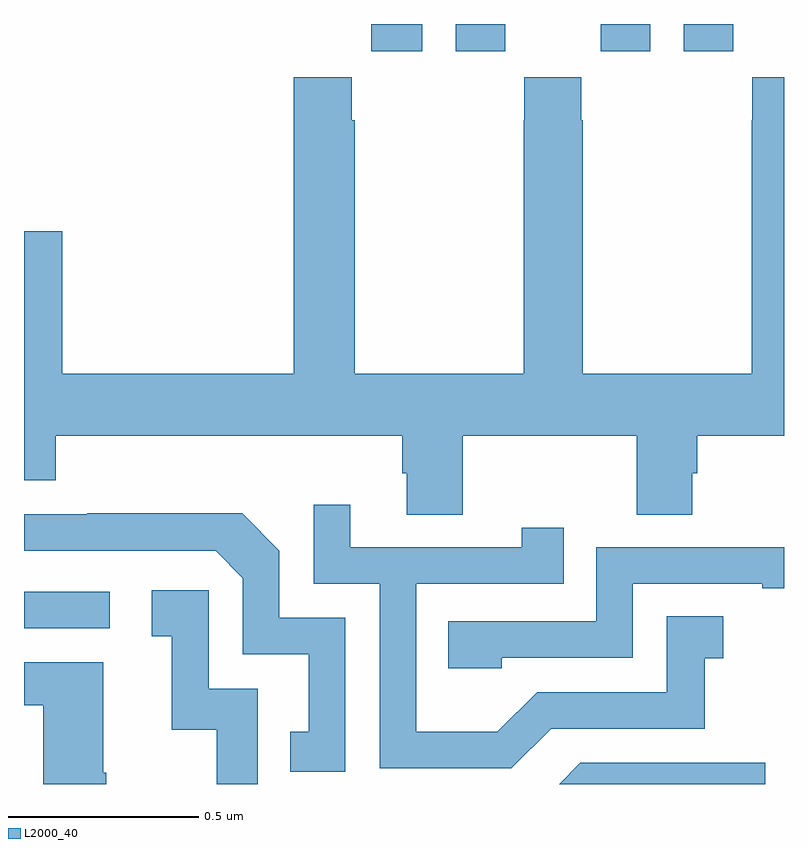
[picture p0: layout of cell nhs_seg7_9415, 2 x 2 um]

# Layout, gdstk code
import gdstk
lib = gdstk.Library(unit=1e-6, precision=1e-09)
def R(c, l, rs):  # rectangles x0, y0, x1, y1
    for r in rs: c.add(gdstk.rectangle(r[:2], r[2:], *l))
def P(c, l, *ps):  # polygons
    for p in ps: c.add(gdstk.Polygon(p, *l))
L2000_40 = (2000, 40)

nhs_seg7_9415 = lib.new_cell('nhs_seg7_9415')
R(nhs_seg7_9415, L2000_40, [(237,1033.41,237.226,1033.506), (237.914,1034.928,238.048,1035), (238.136,1034.928,238.266,1035), (238.518,1034.928,238.648,1035), (238.736,1034.928,238.866,1035)])
P(nhs_seg7_9415, L2000_40, [(238.155,1033.916),(238.612,1033.916),(238.612,1033.708),(238.759,1033.708),(238.759,1033.818),(238.772,1033.818),(238.772,1033.916),(239,1033.916),(239,1034.86),(238.917,1034.86),(238.917,1034.747),(238.915,1034.747),(238.915,1034.08),(238.47,1034.08),(238.47,1034.747),(238.467,1034.747),(238.467,1034.86),(238.317,1034.86),(238.317,1034.747),(238.315,1034.747),(238.315,1034.08),(237.87,1034.08),(237.87,1034.747),(237.863,1034.747),(237.863,1034.86),(237.71,1034.86),(237.71,1034.08),(237.1,1034.08),(237.1,1034.455),(237,1034.455),(237,1033.799),(237.083,1033.799),(237.083,1033.916),(237.995,1033.916),(237.995,1033.818),(238.007,1033.818),(238.007,1033.708),(238.155,1033.708)],
  [(238.387,1033.146),(238.791,1033.146),(238.791,1033.331),(238.84,1033.331),(238.84,1033.441),(238.692,1033.441),(238.692,1033.242),(238.35,1033.242),(238.246,1033.138),(238.032,1033.138),(238.032,1033.527),(238.421,1033.527),(238.421,1033.675),(238.31,1033.675),(238.31,1033.623),(237.859,1033.623),(237.859,1033.735),(237.762,1033.735),(237.762,1033.527),(237.936,1033.527),(237.936,1033.041),(238.282,1033.041)],
  [(237.846,1033.437),(237.672,1033.437),(237.672,1033.614),(237.574,1033.712),(237.166,1033.712),(237.166,1033.71),(237,1033.71),(237,1033.614),(237.504,1033.614),(237.576,1033.542),(237.576,1033.341),(237.749,1033.341),(237.749,1033.137),(237.7,1033.137),(237.7,1033.032),(237.846,1033.032)],
  [(238.257,1033.332),(238.602,1033.332),(238.602,1033.527),(238.943,1033.527),(238.943,1033.515),(239,1033.515),(239,1033.623),(238.506,1033.623),(238.506,1033.428),(238.117,1033.428),(238.117,1033.305),(238.257,1033.305)],
  [(237.615,1033.251),(237.486,1033.251),(237.486,1033.51),(237.336,1033.51),(237.336,1033.389),(237.389,1033.389),(237.389,1033.143),(237.507,1033.143),(237.507,1033),(237.615,1033)],
  [(237.216,1033.03),(237.208,1033.03),(237.208,1033.321),(237,1033.321),(237,1033.207),(237.05,1033.207),(237.05,1033),(237.216,1033)],
  [(238.95,1033.056),(238.464,1033.056),(238.408,1033),(238.95,1033)])

lib.write_gds('nhs_seg7_9415.gds')
